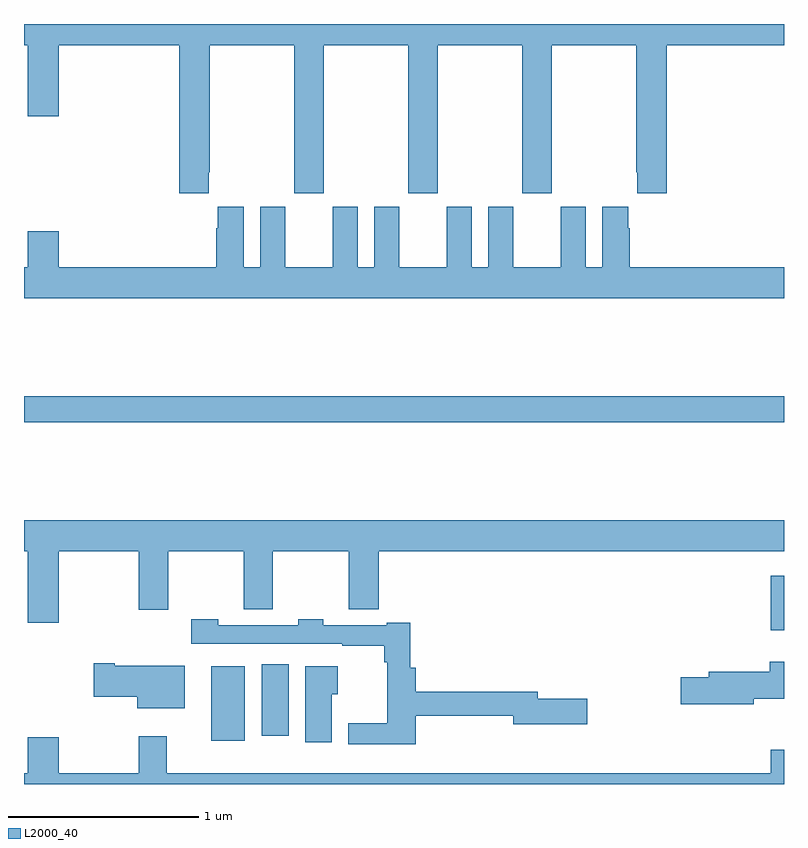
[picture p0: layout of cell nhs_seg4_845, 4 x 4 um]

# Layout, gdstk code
import gdstk
lib = gdstk.Library(unit=1e-6, precision=1e-09)
def R(c, l, rs):  # rectangles x0, y0, x1, y1
    for r in rs: c.add(gdstk.rectangle(r[:2], r[2:], *l))
def P(c, l, *ps):  # polygons
    for p in ps: c.add(gdstk.Polygon(p, *l))
L2000_40 = (2000, 40)

nhs_seg4_845 = lib.new_cell('nhs_seg4_845')
R(nhs_seg4_845, L2000_40, [(153.986,825.128,154.162,825.52), (154.25,825.153,154.393,825.529), (156.929,825.71,157,825.997), (153,826.804,157,826.94)])
P(nhs_seg4_845, L2000_40, [(153.973,828.121),(153.978,828.121),(153.978,828.788),(154.423,828.788),(154.423,828.009),(154.578,828.009),(154.578,828.788),(155.023,828.788),(155.023,828.009),(155.178,828.009),(155.178,828.788),(155.623,828.788),(155.623,828.009),(155.778,828.009),(155.778,828.788),(156.223,828.788),(156.223,828.121),(156.227,828.121),(156.227,828.009),(156.383,828.009),(156.383,828.788),(157,828.788),(157,828.9),(153,828.9),(153,828.788),(153.02,828.788),(153.02,828.414),(153.184,828.414),(153.184,828.788),(153.818,828.788),(153.818,828.009),(153.973,828.009)],
  [(157,827.62),(156.188,827.62),(156.188,827.825),(156.181,827.825),(156.181,827.938),(156.044,827.938),(156.044,827.62),(155.956,827.62),(155.956,827.938),(155.825,827.938),(155.825,827.62),(155.575,827.62),(155.575,827.938),(155.444,827.938),(155.444,827.62),(155.356,827.62),(155.356,827.938),(155.225,827.938),(155.225,827.62),(154.975,827.62),(154.975,827.938),(154.844,827.938),(154.844,827.62),(154.756,827.62),(154.756,827.938),(154.625,827.938),(154.625,827.62),(154.375,827.62),(154.375,827.938),(154.244,827.938),(154.244,827.62),(154.156,827.62),(154.156,827.938),(154.019,827.938),(154.019,827.825),(154.013,827.825),(154.013,827.62),(153.184,827.62),(153.184,827.809),(153.02,827.809),(153.02,827.62),(153,827.62),(153,827.456),(157,827.456)],
  [(153.184,826.124),(153.604,826.124),(153.604,825.816),(153.759,825.816),(153.759,826.124),(154.156,826.124),(154.156,825.82),(154.31,825.82),(154.31,826.124),(154.708,826.124),(154.708,825.82),(154.868,825.82),(154.868,826.124),(157,826.124),(157,826.288),(153,826.288),(153,826.124),(153.02,826.124),(153.02,825.75),(153.184,825.75)],
  [(155.063,825.258),(155.576,825.258),(155.576,825.215),(155.965,825.215),(155.965,825.35),(155.704,825.35),(155.704,825.386),(155.063,825.386),(155.063,825.511),(155.033,825.511),(155.033,825.748),(154.91,825.748),(154.91,825.735),(154.575,825.735),(154.575,825.768),(154.443,825.768),(154.443,825.735),(154.023,825.735),(154.023,825.768),(153.879,825.768),(153.879,825.639),(154.675,825.639),(154.675,825.627),(154.897,825.627),(154.897,825.542),(154.912,825.542),(154.912,825.22),(154.707,825.22),(154.707,825.11),(155.063,825.11)],
  [(156.84,825.35),(157,825.35),(157,825.544),(156.926,825.544),(156.926,825.491),(156.605,825.491),(156.605,825.461),(156.456,825.461),(156.456,825.319),(156.84,825.319)],
  [(153.847,825.523),(153.478,825.523),(153.478,825.536),(153.366,825.536),(153.366,825.358),(153.596,825.358),(153.596,825.299),(153.847,825.299)],
  [(154.621,825.373),(154.651,825.373),(154.651,825.52),(154.481,825.52),(154.481,825.12),(154.621,825.12)],
  [(157,825.08),(156.929,825.08),(156.929,824.956),(153.751,824.956),(153.751,825.151),(153.604,825.151),(153.604,824.956),(153.184,824.956),(153.184,825.145),(153.02,825.145),(153.02,824.956),(153,824.956),(153,824.9),(157,824.9)])

lib.write_gds('nhs_seg4_845.gds')
